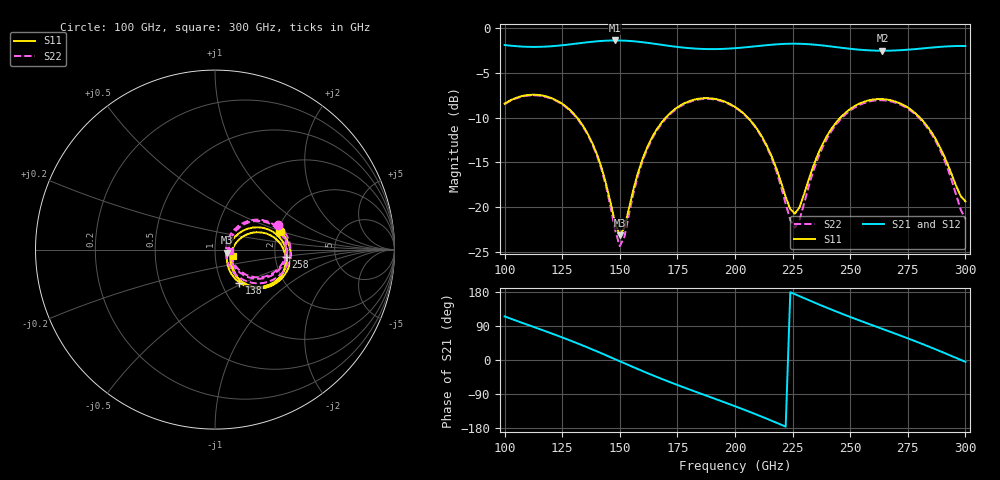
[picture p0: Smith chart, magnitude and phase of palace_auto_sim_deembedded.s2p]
! Created with skrf 1.11.0 (http://scikit-rf.org).
# GHz S DB R 50.0
!freq dBS11 angS11 dBS21 angS21 dBS12 angS12 dBS22 angS22
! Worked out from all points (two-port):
!   101 points, 100 GHz to 300 GHz, reference 50 ohm
!   highest |S21| = -1.37 dB at 148 GHz (marker M1); lowest = -2.5 dB at 264 GHz (marker M2)
!   |S21| within 3 dB of the highest: start of sweep to end of sweep
!   lowest |S11| = -23.2 dB at 150 GHz (marker M3), VSWR 1.15, Z = 57.2 - j1.93 ohm
!   |S11| at or under -10 dB: 131.4 GHz to 169.9 GHz (38.51 GHz wide, 25.6 % of centre); 205.6 GHz to 245.8 GHz (40.18 GHz wide, 17.8 % of centre); 280.3 GHz to end of sweep
!   |S22| runs from -24.4 to -7.5 dB; largest |S21 - S12| = 9.3e-14
!   S11 on the Smith chart (normalised r, x): 100 GHz: 2.07, +0.50; 138 GHz: 1.21, -0.47; 258 GHz: 2.28, -0.21; 300 GHz: 1.22, -0.09
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100  -8.44 15.7  -1.88 115.0  -1.88 115.0  -8.50 21.5
118  -7.62 -18.3  -2.05 75.4  -2.05 75.4  -7.69 -12.0
134  -10.91 -47.7  -1.63 38.1  -1.63 38.1  -11.00 -41.3
138  -12.81 -53.5  -1.52 28.0  -1.52 28.0  -12.93 -47.3
144  -17.37 -54.7  -1.40 12.5  -1.40 12.5  -17.65 -49.6
148  -21.81 -36.7  -1.37 1.9  -1.37 1.9  -22.63 -32.1
150  -23.17 -14.0  -1.38 -3.4  -1.38 -3.4  -24.38 -6.6
152  -22.30 10.4  -1.39 -8.7  -1.39 -8.7  -23.34 21.7
160  -14.53 34.1  -1.57 -29.5  -1.57 -29.5  -14.77 45.6
168  -10.59 24.1  -1.85 -49.4  -1.85 -49.4  -10.73 35.1
184  -7.90 -4.2  -2.30 -86.2  -2.30 -86.2  -7.98 6.7
200  -8.80 -32.1  -2.23 -122.0  -2.23 -122.0  -8.86 -21.4
214  -13.24 -50.9  -1.89 -155.5  -1.89 -155.5  -13.38 -41.7
226  -20.74 -11.4  -1.73 173.6  -1.73 173.6  -22.29 -0.1
234  -15.41 25.0  -1.83 152.8  -1.83 152.8  -15.97 42.1
244  -10.51 17.6  -2.12 127.8  -2.12 127.8  -10.74 33.3
258  -8.07 -5.6  -2.47 95.4  -2.47 95.4  -8.21 9.4
264  -7.93 -16.0  -2.52 82.0  -2.52 82.0  -8.05 -1.3
268  -8.08 -22.9  -2.50 73.0  -2.50 73.0  -8.20 -8.3
278  -9.45 -39.2  -2.34 50.1  -2.34 50.1  -9.58 -25.5
286  -11.93 -49.3  -2.15 30.8  -2.15 30.8  -12.13 -37.0
300  -19.36 -19.0  -1.99 -4.9  -1.99 -4.9  -21.37 -6.8
